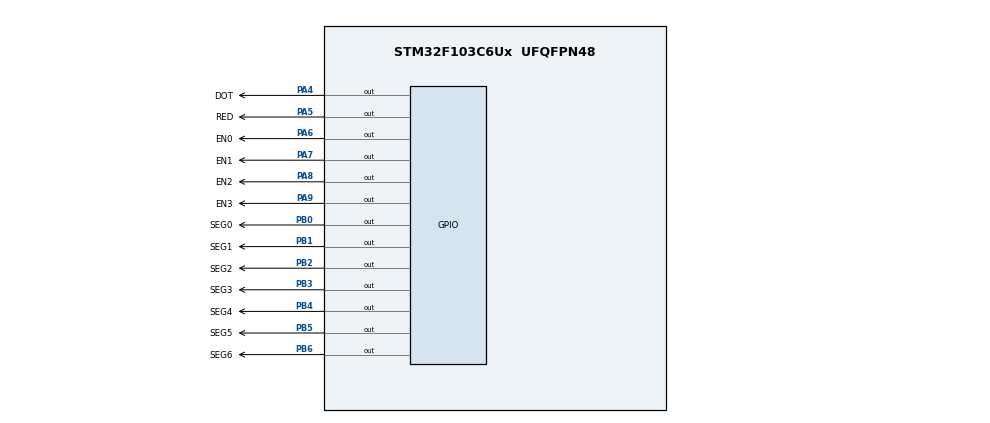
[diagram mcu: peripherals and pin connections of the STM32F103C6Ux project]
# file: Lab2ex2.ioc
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Mcu.Family=STM32F1
Mcu.Name=STM32F103C6Ux
Mcu.Package=UFQFPN48
NVIC.PriorityGroup=NVIC_PRIORITYGROUP_4
NVIC.TIM2_IRQn=true\:0\:0\:false\:false\:true\:true\:true
PA4.GPIO_Label=DOT
PA4.Signal=GPIO_Output
PA5.GPIO_Label=RED
PA5.Signal=GPIO_Output
PA6.GPIO_Label=EN0
PA6.Signal=GPIO_Output
PA7.GPIO_Label=EN1
PA7.Signal=GPIO_Output
PA8.GPIO_Label=EN2
PA8.Signal=GPIO_Output
PA9.GPIO_Label=EN3
PA9.Signal=GPIO_Output
PB0.GPIO_Label=SEG0
PB0.Signal=GPIO_Output
PB1.GPIO_Label=SEG1
PB1.Signal=GPIO_Output
PB2.GPIO_Label=SEG2
PB2.Signal=GPIO_Output
PB3.GPIO_Label=SEG3
PB3.Signal=GPIO_Output
PB4.GPIO_Label=SEG4
PB4.Signal=GPIO_Output
PB5.GPIO_Label=SEG5
PB5.Signal=GPIO_Output
PB6.GPIO_Label=SEG6
PB6.Signal=GPIO_Output
ProjectManager.HeapSize=0x200
ProjectManager.StackSize=0x400
ProjectManager.TargetToolchain=STM32CubeIDE
RCC.APB1Freq_Value=8000000
RCC.APB2Freq_Value=8000000
TIM2.Period=9
TIM2.Prescaler=7999
VP_SYS_VS_ND.Mode=No_Debug
VP_TIM2_VS_ClockSourceINT.Mode=Internal
board=custom

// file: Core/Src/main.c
/* USER CODE BEGIN Header */
/**
  ******************************************************************************
  * @file           : main.c
  * @brief          : Main program body
  ******************************************************************************
  * @attention
  *
  * <h2><center>&copy; Copyright (c) 2023 STMicroelectronics.
  * All rights reserved.</center></h2>
  *
  * This software component is licensed by ST under BSD 3-Clause license,
  * the "License"; You may not use this file except in compliance with the
  * License. You may obtain a copy of the License at:
  *                        opensource.org/licenses/BSD-3-Clause
  *
  ******************************************************************************
  */
/* USER CODE END Header */
#include "main.h"

/* USER CODE BEGIN Includes */
void display7SEG(int num){
	if(num <=0){
			  HAL_GPIO_WritePin(SEG0_GPIO_Port, SEG0_Pin, RESET);
			  HAL_GPIO_WritePin(SEG1_GPIO_Port, SEG1_Pin, RESET);
			  HAL_GPIO_WritePin(SEG2_GPIO_Port, SEG2_Pin, RESET);
			  HAL_GPIO_WritePin(SEG3_GPIO_Port, SEG3_Pin, RESET);
			  HAL_GPIO_WritePin(SEG4_GPIO_Port, SEG4_Pin, RESET);
			  HAL_GPIO_WritePin(SEG5_GPIO_Port, SEG5_Pin, RESET);
			  HAL_GPIO_WritePin(SEG6_GPIO_Port, SEG6_Pin, SET);
		  }
		  if(num == 1){
			  HAL_GPIO_WritePin(SEG0_GPIO_Port, SEG0_Pin, SET);
			  HAL_GPIO_WritePin(SEG1_GPIO_Port, SEG1_Pin, RESET);
			  HAL_GPIO_WritePin(SEG2_GPIO_Port, SEG2_Pin, RESET);
			  HAL_GPIO_WritePin(SEG3_GPIO_Port, SEG3_Pin, SET);
			  HAL_GPIO_WritePin(SEG4_GPIO_Port, SEG4_Pin, SET);
			  HAL_GPIO_WritePin(SEG5_GPIO_Port, SEG5_Pin, SET);
			  HAL_GPIO_WritePin(SEG6_GPIO_Port, SEG6_Pin, SET);
		  }
		  if(num == 2){
			  HAL_GPIO_WritePin(SEG0_GPIO_Port, SEG0_Pin, RESET);
			  HAL_GPIO_WritePin(SEG1_GPIO_Port, SEG1_Pin, RESET);
			  HAL_GPIO_WritePin(SEG2_GPIO_Port, SEG2_Pin, SET);
			  HAL_GPIO_WritePin(SEG3_GPIO_Port, SEG3_Pin, RESET);
			  HAL_GPIO_WritePin(SEG4_GPIO_Port, SEG4_Pin, RESET);
			  HAL_GPIO_WritePin(SEG5_GPIO_Port, SEG5_Pin, SET);
			  HAL_GPIO_WritePin(SEG6_GPIO_Port, SEG6_Pin, RESET);
		  }
		  if(num == 3){
			  HAL_GPIO_WritePin(SEG0_GPIO_Port, SEG0_Pin, RESET);
			  HAL_GPIO_WritePin(SEG1_GPIO_Port, SEG1_Pin, RESET);
			  HAL_GPIO_WritePin(SEG2_GPIO_Port, SEG2_Pin, RESET);
			  HAL_GPIO_WritePin(SEG3_GPIO_Port, SEG3_Pin, RESET);
			  HAL_GPIO_WritePin(SEG4_GPIO_Port, SEG4_Pin, SET);
			  HAL_GPIO_WritePin(SEG5_GPIO_Port, SEG5_Pin, SET);
			  HAL_GPIO_WritePin(SEG6_GPIO_Port, SEG6_Pin, RESET);
		  }
		  if(num == 4){
			  HAL_GPIO_WritePin(SEG0_GPIO_Port, SEG0_Pin, SET);
			  HAL_GPIO_WritePin(SEG1_GPIO_Port, SEG1_Pin, RESET);
			  HAL_GPIO_WritePin(SEG2_GPIO_Port, SEG2_Pin, RESET);
			  HAL_GPIO_WritePin(SEG3_GPIO_Port, SEG3_Pin, SET);
			  HAL_GPIO_WritePin(SEG4_GPIO_Port, SEG4_Pin, SET);
			  HAL_GPIO_WritePin(SEG5_GPIO_Port, SEG5_Pin, RESET);
			  HAL_GPIO_WritePin(SEG6_GPIO_Port, SEG6_Pin, RESET);
		  }
		  if(num == 5){
			  HAL_GPIO_WritePin(SEG0_GPIO_Port, SEG0_Pin, RESET);
			  HAL_GPIO_WritePin(SEG1_GPIO_Port, SEG1_Pin, SET);
			  HAL_GPIO_WritePin(SEG2_GPIO_Port, SEG2_Pin, RESET);
			  HAL_GPIO_WritePin(SEG3_GPIO_Port, SEG3_Pin, RESET);
			  HAL_GPIO_WritePin(SEG4_GPIO_Port, SEG4_Pin, SET);
			  HAL_GPIO_WritePin(SEG5_GPIO_Port, SEG5_Pin, RESET);
			  HAL_GPIO_WritePin(SEG6_GPIO_Port, SEG6_Pin, RESET);
		  }
		  if(num == 6){
			  HAL_GPIO_WritePin(SEG0_GPIO_Port, SEG0_Pin, RESET);
			  HAL_GPIO_WritePin(SEG1_GPIO_Port, SEG1_Pin, SET);
			  HAL_GPIO_WritePin(SEG2_GPIO_Port, SEG2_Pin, RESET);
			  HAL_GPIO_WritePin(SEG3_GPIO_Port, SEG3_Pin, RESET);
			  HAL_GPIO_WritePin(SEG4_GPIO_Port, SEG4_Pin, RESET);
			  HAL_GPIO_WritePin(SEG5_GPIO_Port, SEG5_Pin, RESET);
			  HAL_GPIO_WritePin(SEG6_GPIO_Port, SEG6_Pin, RESET);
		  }
		  if(num == 7){
			  HAL_GPIO_WritePin(SEG0_GPIO_Port, SEG0_Pin, RESET);
			  HAL_GPIO_WritePin(SEG1_GPIO_Port, SEG1_Pin, RESET);
			  HAL_GPIO_WritePin(SEG2_GPIO_Port, SEG2_Pin, RESET);
			  HAL_GPIO_WritePin(SEG3_GPIO_Port, SEG3_Pin, SET);
			  HAL_GPIO_WritePin(SEG4_GPIO_Port, SEG4_Pin, SET);
			  HAL_GPIO_WritePin(SEG5_GPIO_Port, SEG5_Pin, SET);
			  HAL_GPIO_WritePin(SEG6_GPIO_Port, SEG6_Pin, SET);
		  }
		  if(num == 8){
			  HAL_GPIO_WritePin(SEG0_GPIO_Port, SEG0_Pin, RESET);
			  HAL_GPIO_WritePin(SEG1_GPIO_Port, SEG1_Pin, RESET);
			  HAL_GPIO_WritePin(SEG2_GPIO_Port, SEG2_Pin, RESET);
			  HAL_GPIO_WritePin(SEG3_GPIO_Port, SEG3_Pin, RESET);
			  HAL_GPIO_WritePin(SEG4_GPIO_Port, SEG4_Pin, RESET);
			  HAL_GPIO_WritePin(SEG5_GPIO_Port, SEG5_Pin, RESET);
			  HAL_GPIO_WritePin(SEG6_GPIO_Port, SEG6_Pin, RESET);
		  }
		  if(num >= 9){
			  HAL_GPIO_WritePin(SEG0_GPIO_Port, SEG0_Pin, RESET);
			  HAL_GPIO_WritePin(SEG1_GPIO_Port, SEG1_Pin, RESET);
			  HAL_GPIO_WritePin(SEG2_GPIO_Port, SEG2_Pin, RESET);
			  HAL_GPIO_WritePin(SEG3_GPIO_Port, SEG3_Pin, RESET);
			  HAL_GPIO_WritePin(SEG4_GPIO_Port, SEG4_Pin, RESET);
			  HAL_GPIO_WritePin(SEG5_GPIO_Port, SEG5_Pin, SET);
			  HAL_GPIO_WritePin(SEG6_GPIO_Port, SEG6_Pin, RESET);
		  }

}
/* USER CODE END Includes */

TIM_HandleTypeDef htim2;

void SystemClock_Config(void);
static void MX_GPIO_Init(void);
static void MX_TIM2_Init(void);

int main(void)
{

  /* MCU Configuration--------------------------------------------------------*/

  /* Reset of all peripherals, Initializes the Flash interface and the Systick. */
  HAL_Init();

  /* Configure the system clock */
  SystemClock_Config();

  /* Initialize all configured peripherals */
  MX_GPIO_Init();
  MX_TIM2_Init();
  /* USER CODE BEGIN 2 */
  int status=0;
  HAL_TIM_Base_Start_IT(&htim2);

  /* USER CODE END 2 */

  /* Infinite loop */
  /* USER CODE BEGIN WHILE */
  HAL_GPIO_WritePin(DOT_GPIO_Port, DOT_Pin, 0);
  HAL_GPIO_WritePin(RED_GPIO_Port, RED_Pin, 1);
  HAL_GPIO_WritePin(EN0_GPIO_Port, EN0_Pin, 1);
  HAL_GPIO_WritePin(EN1_GPIO_Port, EN1_Pin, 1);
  HAL_GPIO_WritePin(EN2_GPIO_Port, EN2_Pin, 1);
  HAL_GPIO_WritePin(EN3_GPIO_Port, EN3_Pin, 1);
  while (1)
  {
	  if(HAL_GPIO_ReadPin(RED_GPIO_Port, RED_Pin) == 0){
		  status++;
		  if(status >= 4) status =0;
		  HAL_GPIO_WritePin(RED_GPIO_Port, RED_Pin, 1);
	  }
		switch (status) {
			case 0:
				HAL_GPIO_WritePin(EN0_GPIO_Port, EN0_Pin, 0);
				HAL_GPIO_WritePin(EN1_GPIO_Port, EN1_Pin, 1);
				HAL_GPIO_WritePin(EN2_GPIO_Port, EN2_Pin, 1);
				HAL_GPIO_WritePin(EN3_GPIO_Port, EN3_Pin, 1);
				display7SEG(1);
				break;
			case 1:
				HAL_GPIO_WritePin(EN0_GPIO_Port, EN0_Pin, 1);
				HAL_GPIO_WritePin(EN1_GPIO_Port, EN1_Pin, 0);
				HAL_GPIO_WritePin(EN2_GPIO_Port, EN2_Pin, 1);
				HAL_GPIO_WritePin(EN3_GPIO_Port, EN3_Pin, 1);
				display7SEG(2);
				break;
			case 2:
				HAL_GPIO_WritePin(EN0_GPIO_Port, EN0_Pin, 1);
				HAL_GPIO_WritePin(EN1_GPIO_Port, EN1_Pin, 1);
				HAL_GPIO_WritePin(EN2_GPIO_Port, EN2_Pin, 0);
				HAL_GPIO_WritePin(EN3_GPIO_Port, EN3_Pin, 1);
				display7SEG(3);
				break;
			case 3:
				HAL_GPIO_WritePin(EN0_GPIO_Port, EN0_Pin, 1);
				HAL_GPIO_WritePin(EN1_GPIO_Port, EN1_Pin, 1);
				HAL_GPIO_WritePin(EN2_GPIO_Port, EN2_Pin, 1);
				HAL_GPIO_WritePin(EN3_GPIO_Port, EN3_Pin, 0);
				display7SEG(0);
				break;
			default:
				HAL_GPIO_WritePin(EN0_GPIO_Port, EN0_Pin, 1);
				HAL_GPIO_WritePin(EN1_GPIO_Port, EN1_Pin, 1);
				HAL_GPIO_WritePin(EN2_GPIO_Port, EN2_Pin, 1);
				HAL_GPIO_WritePin(EN3_GPIO_Port, EN3_Pin, 1);
				break;
		  }
    /* USER CODE END WHILE */

  }
}

void SystemClock_Config(void)
{
  RCC_OscInitTypeDef RCC_OscInitStruct = {0};
  RCC_ClkInitTypeDef RCC_ClkInitStruct = {0};

  /** Initializes the RCC Oscillators according to the specified parameters
  * in the RCC_OscInitTypeDef structure.
  */
  RCC_OscInitStruct.OscillatorType = RCC_OSCILLATORTYPE_HSI;
  RCC_OscInitStruct.HSIState = RCC_HSI_ON;
  RCC_OscInitStruct.HSICalibrationValue = RCC_HSICALIBRATION_DEFAULT;
  RCC_OscInitStruct.PLL.PLLState = RCC_PLL_NONE;
  if (HAL_RCC_OscConfig(&RCC_OscInitStruct) != HAL_OK)
  {
    Error_Handler();
  }
  /** Initializes the CPU, AHB and APB buses clocks
  */
  RCC_ClkInitStruct.ClockType = RCC_CLOCKTYPE_HCLK|RCC_CLOCKTYPE_SYSCLK
                              |RCC_CLOCKTYPE_PCLK1|RCC_CLOCKTYPE_PCLK2;
  RCC_ClkInitStruct.SYSCLKSource = RCC_SYSCLKSOURCE_HSI;
  RCC_ClkInitStruct.AHBCLKDivider = RCC_SYSCLK_DIV1;
  RCC_ClkInitStruct.APB1CLKDivider = RCC_HCLK_DIV1;
  RCC_ClkInitStruct.APB2CLKDivider = RCC_HCLK_DIV1;

  if (HAL_RCC_ClockConfig(&RCC_ClkInitStruct, FLASH_LATENCY_0) != HAL_OK)
  {
    Error_Handler();
  }
}

static void MX_TIM2_Init(void)
{

  TIM_ClockConfigTypeDef sClockSourceConfig = {0};
  TIM_MasterConfigTypeDef sMasterConfig = {0};

  htim2.Instance = TIM2;
  htim2.Init.Prescaler = 7999;
  htim2.Init.CounterMode = TIM_COUNTERMODE_UP;
  htim2.Init.Period = 9;
  htim2.Init.ClockDivision = TIM_CLOCKDIVISION_DIV1;
  htim2.Init.AutoReloadPreload = TIM_AUTORELOAD_PRELOAD_DISABLE;
  if (HAL_TIM_Base_Init(&htim2) != HAL_OK)
  {
    Error_Handler();
  }
  sClockSourceConfig.ClockSource = TIM_CLOCKSOURCE_INTERNAL;
  if (HAL_TIM_ConfigClockSource(&htim2, &sClockSourceConfig) != HAL_OK)
  {
    Error_Handler();
  }
  sMasterConfig.MasterOutputTrigger = TIM_TRGO_RESET;
  sMasterConfig.MasterSlaveMode = TIM_MASTERSLAVEMODE_DISABLE;
  if (HAL_TIMEx_MasterConfigSynchronization(&htim2, &sMasterConfig) != HAL_OK)
  {
    Error_Handler();
  }

}

static void MX_GPIO_Init(void)
{
  GPIO_InitTypeDef GPIO_InitStruct = {0};

  /* GPIO Ports Clock Enable */
  __HAL_RCC_GPIOA_CLK_ENABLE();
  __HAL_RCC_GPIOB_CLK_ENABLE();

  /*Configure GPIO pin Output Level */
  HAL_GPIO_WritePin(GPIOA, DOT_Pin|RED_Pin|EN0_Pin|EN1_Pin
                          |EN2_Pin|EN3_Pin, GPIO_PIN_RESET);

  /*Configure GPIO pin Output Level */
  HAL_GPIO_WritePin(GPIOB, SEG0_Pin|SEG1_Pin|SEG2_Pin|SEG3_Pin
                          |SEG4_Pin|SEG5_Pin|SEG6_Pin, GPIO_PIN_RESET);

  /*Configure GPIO pins : DOT_Pin RED_Pin EN0_Pin EN1_Pin
                           EN2_Pin EN3_Pin */
  GPIO_InitStruct.Pin = DOT_Pin|RED_Pin|EN0_Pin|EN1_Pin
                          |EN2_Pin|EN3_Pin;
  GPIO_InitStruct.Mode = GPIO_MODE_OUTPUT_PP;
  GPIO_InitStruct.Pull = GPIO_NOPULL;
  GPIO_InitStruct.Speed = GPIO_SPEED_FREQ_LOW;
  HAL_GPIO_Init(GPIOA, &GPIO_InitStruct);

  /*Configure GPIO pins : SEG0_Pin SEG1_Pin SEG2_Pin SEG3_Pin
                           SEG4_Pin SEG5_Pin SEG6_Pin */
  GPIO_InitStruct.Pin = SEG0_Pin|SEG1_Pin|SEG2_Pin|SEG3_Pin
                          |SEG4_Pin|SEG5_Pin|SEG6_Pin;
  GPIO_InitStruct.Mode = GPIO_MODE_OUTPUT_PP;
  GPIO_InitStruct.Pull = GPIO_NOPULL;
  GPIO_InitStruct.Speed = GPIO_SPEED_FREQ_LOW;
  HAL_GPIO_Init(GPIOB, &GPIO_InitStruct);

}

/* USER CODE BEGIN 4 */
int counter=100;
void HAL_TIM_PeriodElapsedCallback( TIM_HandleTypeDef* htim){
	counter--;
	if(counter == 50){
		HAL_GPIO_WritePin(RED_GPIO_Port, RED_Pin, 0);
	}
	if(counter <= 0){
		HAL_GPIO_TogglePin(DOT_GPIO_Port, DOT_Pin);
		HAL_GPIO_WritePin(RED_GPIO_Port, RED_Pin, 0);
		counter=100;
	}

}
/* USER CODE END 4 */

void Error_Handler(void)
{
  __disable_irq();
  while (1)
  {
  }
}

/************************ (C) COPYRIGHT STMicroelectronics *****END OF FILE****/
